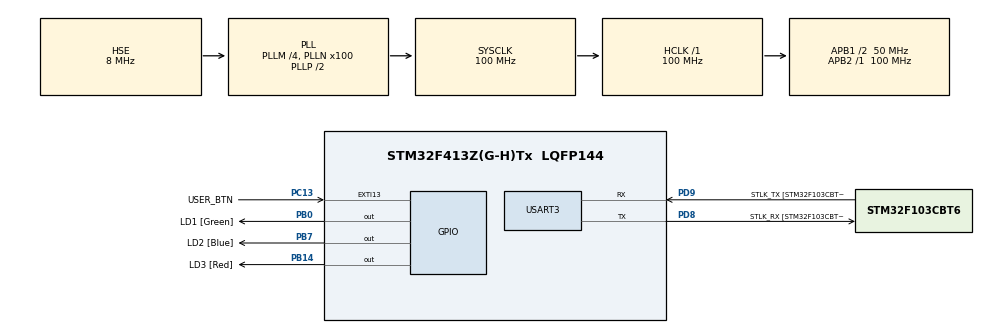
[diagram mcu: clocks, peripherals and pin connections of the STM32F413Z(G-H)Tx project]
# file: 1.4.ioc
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Mcu.Family=STM32F4
Mcu.Name=STM32F413Z(G-H)Tx
Mcu.Package=LQFP144
NVIC.PriorityGroup=NVIC_PRIORITYGROUP_4
PA13.GPIO_Label=TMS
PA13.Mode=Serial_Wire
PA13.Signal=SYS_JTMS-SWDIO
PA14.GPIO_Label=TCK
PA14.Mode=Serial_Wire
PA14.Signal=SYS_JTCK-SWCLK
PB0.GPIO_Label=LD1 [Green]
PB0.Signal=GPIO_Output
PB14.GPIO_Label=LD3 [Red]
PB14.Signal=GPIO_Output
PB7.GPIO_Label=LD2 [Blue]
PB7.Signal=GPIO_Output
PC13.GPIO_Label=USER_BTN
PC13.Signal=GPXTI13
PC14-OSC32_IN.Mode=LSE-External-Oscillator
PC14-OSC32_IN.Signal=RCC_OSC32_IN
PC15-OSC32_OUT.Mode=LSE-External-Oscillator
PC15-OSC32_OUT.Signal=RCC_OSC32_OUT
PD8.GPIO_Label=STLK_RX [STM32F103CBT6_PA3]
PD8.Mode=Asynchronous
PD8.Signal=USART3_TX
PD9.GPIO_Label=STLK_TX [STM32F103CBT6_PA2]
PD9.Mode=Asynchronous
PD9.Signal=USART3_RX
PH0\ -\ OSC_IN.GPIO_Label=MCO
PH0\ -\ OSC_IN.Mode=HSE-External-Clock-Source
PH0\ -\ OSC_IN.Signal=RCC_OSC_IN
PH1\ -\ OSC_OUT.Mode=HSE-External-Clock-Source
PH1\ -\ OSC_OUT.Signal=RCC_OSC_OUT
ProjectManager.HeapSize=0x200
ProjectManager.StackSize=0x400
ProjectManager.TargetToolchain=STM32CubeIDE
RCC.48MHZClocksFreq_Value=24000000
RCC.AHBFreq_Value=100000000
RCC.APB1CLKDivider=RCC_HCLK_DIV2
RCC.APB1Freq_Value=50000000
RCC.APB1TimFreq_Value=100000000
RCC.APB2Freq_Value=100000000
RCC.APB2TimFreq_Value=100000000
RCC.CortexFreq_Value=100000000
RCC.HCLKFreq_Value=100000000
RCC.HSE_VALUE=8000000
RCC.HSI_VALUE=16000000
RCC.PLLM=4
RCC.PLLMUL=RCC_PLL_MUL9
RCC.PLLN=100
RCC.PLLQ=8
RCC.PLLSourceVirtual=RCC_PLLSOURCE_HSE
RCC.PRESCALERUSB=RCC_USBCLKSOURCE_PLL_DIV1_5
RCC.SYSCLKFreq_VALUE=100000000
RCC.SYSCLKSource=RCC_SYSCLKSOURCE_PLLCLK
RCC.SYSCLKSourceVirtual=RCC_SYSCLKSOURCE_PLLCLK
RCC.USBFreq_Value=25000000
RCC.VCOOutputFreq_Value=200000000
USART3.VirtualMode=VM_ASYNC
board=NUCLEO-F413ZH

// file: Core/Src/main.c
/* USER CODE BEGIN Header */
/**
  ******************************************************************************
  * @file           : main.c
  * @brief          : Main program body - AFP N°4 (UTN FRT)
  ******************************************************************************
  */
/* USER CODE END Header */

#include "main.h"

/* USER CODE BEGIN Includes */
#include "API_GPIO.h"
#include "API_delay.h"
/* USER CODE END Includes */

UART_HandleTypeDef huart3;

/* USER CODE BEGIN PV */
// Tiempos de alternancia en ms
uint32_t tiempos[4] = {100, 250, 500, 1000};
uint8_t indice_tiempo = 0; // Inicia en 0 (100 ms)

uint8_t boton_previo = 0;

// Estructuras para los retardos no bloqueantes
delay_t delay_led;
delay_t delay_debounce;
/* USER CODE END PV */

void SystemClock_Config(void);
static void MX_GPIO_Init(void);
static void MX_USART3_UART_Init(void);

int main(void)
{

  /* MCU Configuration--------------------------------------------------------*/

  /* Reset of all peripherals, Initializes the Flash interface and the Systick. */
  HAL_Init();

  /* Configure the system clock */
  SystemClock_Config();

  /* Initialize all configured peripherals */
  MX_GPIO_Init();
  MX_USART3_UART_Init();

  /* USER CODE BEGIN 2 */
  API_GPIO_Init();

  // Inicialización de las estructuras de retardo no bloqueante
  delayInit(&delay_led, tiempos[indice_tiempo]);
  delayInit(&delay_debounce, 40); // 40 ms de filtrado para el pulsador
  /* USER CODE END 2 */

  /* Infinite loop */
  /* USER CODE BEGIN WHILE */
  while (1)
  {
      // --- 1. LECTURA NO BLOQUEANTE DEL PULSADOR ---
      uint8_t boton_actual = HAL_GPIO_ReadPin(USER_BTN_GPIO_Port, USER_BTN_Pin);

      // Si detectamos un cambio de estado y transcurrió el tiempo de debounce
      if ((boton_actual != boton_previo) && delayRead(&delay_debounce)) {
          boton_previo = boton_actual;

          // Al detectar la presión del botón (flanco de subida)
          if (boton_actual == GPIO_PIN_SET) {
              indice_tiempo++;
              if (indice_tiempo >= 4) {
                  indice_tiempo = 0; // Vuelve a 100 ms
              }
              // Cambiamos la duración del parpadeo sin bloquear la ejecución
              delayWrite(&delay_led, tiempos[indice_tiempo]);
          }
      }

      // --- 2. ACCIÓN DE LOS LEDS (NO BLOQUEANTE) ---
      // Reemplazo directo del HAL_Delay() que congelaba el programa
      if (delayRead(&delay_led)) {
          HAL_GPIO_TogglePin(GPIOB, LD1_Pin | LD2_Pin | LD3_Pin);
      }

    /* USER CODE END WHILE */

  }
}

void SystemClock_Config(void)
{
  RCC_OscInitTypeDef RCC_OscInitStruct = {0};
  RCC_ClkInitTypeDef RCC_ClkInitStruct = {0};

  __HAL_RCC_PWR_CLK_ENABLE();
  __HAL_PWR_VOLTAGESCALING_CONFIG(PWR_REGULATOR_VOLTAGE_SCALE1);

  RCC_OscInitStruct.OscillatorType = RCC_OSCILLATORTYPE_HSE;
  RCC_OscInitStruct.HSEState = RCC_HSE_BYPASS;
  RCC_OscInitStruct.PLL.PLLState = RCC_PLL_ON;
  RCC_OscInitStruct.PLL.PLLSource = RCC_PLLSOURCE_HSE;
  RCC_OscInitStruct.PLL.PLLM = 4;
  RCC_OscInitStruct.PLL.PLLN = 100;
  RCC_OscInitStruct.PLL.PLLP = RCC_PLLP_DIV2;
  RCC_OscInitStruct.PLL.PLLQ = 8;
  RCC_OscInitStruct.PLL.PLLR = 2;
  if (HAL_RCC_OscConfig(&RCC_OscInitStruct) != HAL_OK)
  {
    Error_Handler();
  }

  RCC_ClkInitStruct.ClockType = RCC_CLOCKTYPE_HCLK|RCC_CLOCKTYPE_SYSCLK
                              |RCC_CLOCKTYPE_PCLK1|RCC_CLOCKTYPE_PCLK2;
  RCC_ClkInitStruct.SYSCLKSource = RCC_SYSCLKSOURCE_PLLCLK;
  RCC_ClkInitStruct.AHBCLKDivider = RCC_SYSCLK_DIV1;
  RCC_ClkInitStruct.APB1CLKDivider = RCC_HCLK_DIV2;
  RCC_ClkInitStruct.APB2CLKDivider = RCC_HCLK_DIV1;

  if (HAL_RCC_ClockConfig(&RCC_ClkInitStruct, FLASH_LATENCY_3) != HAL_OK)
  {
    Error_Handler();
  }
}

static void MX_USART3_UART_Init(void)
{
  huart3.Instance = USART3;
  huart3.Init.BaudRate = 115200;
  huart3.Init.WordLength = UART_WORDLENGTH_8B;
  huart3.Init.StopBits = UART_STOPBITS_1;
  huart3.Init.Parity = UART_PARITY_NONE;
  huart3.Init.Mode = UART_MODE_TX_RX;
  huart3.Init.HwFlowCtl = UART_HWCONTROL_NONE;
  huart3.Init.OverSampling = UART_OVERSAMPLING_16;
  if (HAL_UART_Init(&huart3) != HAL_OK)
  {
    Error_Handler();
  }
}

static void MX_GPIO_Init(void)
{
  GPIO_InitTypeDef GPIO_InitStruct = {0};

  __HAL_RCC_GPIOC_CLK_ENABLE();
  __HAL_RCC_GPIOH_CLK_ENABLE();
  __HAL_RCC_GPIOB_CLK_ENABLE();
  __HAL_RCC_GPIOD_CLK_ENABLE();
  __HAL_RCC_GPIOA_CLK_ENABLE();

  HAL_GPIO_WritePin(GPIOB, LD1_Pin|LD3_Pin|LD2_Pin, GPIO_PIN_RESET);

  GPIO_InitStruct.Pin = USER_BTN_Pin;
  GPIO_InitStruct.Mode = GPIO_MODE_INPUT; // Entrada digital simple para el botón
  GPIO_InitStruct.Pull = GPIO_NOPULL;
  HAL_GPIO_Init(USER_BTN_GPIO_Port, &GPIO_InitStruct);

  GPIO_InitStruct.Pin = LD1_Pin|LD3_Pin|LD2_Pin;
  GPIO_InitStruct.Mode = GPIO_MODE_OUTPUT_PP;
  GPIO_InitStruct.Pull = GPIO_NOPULL;
  GPIO_InitStruct.Speed = GPIO_SPEED_FREQ_LOW;
  HAL_GPIO_Init(GPIOB, &GPIO_InitStruct);
}

void Error_Handler(void)
{
  __disable_irq();
  while (1)
  {
  }
}
